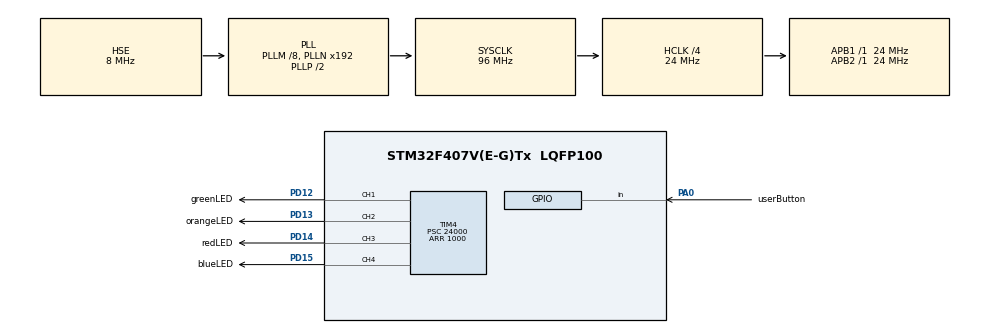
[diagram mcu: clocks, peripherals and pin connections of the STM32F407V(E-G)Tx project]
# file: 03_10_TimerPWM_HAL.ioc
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Mcu.Family=STM32F4
Mcu.Name=STM32F407V(E-G)Tx
Mcu.Package=LQFP100
NVIC.PriorityGroup=NVIC_PRIORITYGROUP_4
PA0-WKUP.GPIO_Label=userButton
PA0-WKUP.Signal=GPIO_Input
PD12.GPIO_Label=greenLED
PD12.Signal=S_TIM4_CH1
PD13.GPIO_Label=orangeLED
PD13.Signal=S_TIM4_CH2
PD14.GPIO_Label=redLED
PD14.Signal=S_TIM4_CH3
PD15.GPIO_Label=blueLED
PD15.Signal=S_TIM4_CH4
PH0-OSC_IN.Mode=HSE-External-Oscillator
PH0-OSC_IN.Signal=RCC_OSC_IN
PH1-OSC_OUT.Mode=HSE-External-Oscillator
PH1-OSC_OUT.Signal=RCC_OSC_OUT
ProjectManager.HeapSize=0x200
ProjectManager.StackSize=0x400
ProjectManager.TargetToolchain=STM32CubeIDE
RCC.48MHZClocksFreq_Value=48000000
RCC.AHBCLKDivider=RCC_SYSCLK_DIV4
RCC.AHBFreq_Value=24000000
RCC.APB1Freq_Value=24000000
RCC.APB1TimFreq_Value=24000000
RCC.APB2Freq_Value=24000000
RCC.APB2TimFreq_Value=24000000
RCC.CortexFreq_Value=24000000
RCC.HCLKFreq_Value=24000000
RCC.HSE_VALUE=8000000
RCC.HSI_VALUE=16000000
RCC.LSE_VALUE=32768
RCC.PLLM=8
RCC.PLLSourceVirtual=RCC_PLLSOURCE_HSE
RCC.SYSCLKFreq_VALUE=96000000
RCC.SYSCLKSource=RCC_SYSCLKSOURCE_PLLCLK
RCC.VCOOutputFreq_Value=192000000
SH.S_TIM4_CH1.0=TIM4_CH1,PWM Generation1 CH1
SH.S_TIM4_CH2.0=TIM4_CH2,PWM Generation2 CH2
SH.S_TIM4_CH3.0=TIM4_CH3,PWM Generation3 CH3
SH.S_TIM4_CH4.0=TIM4_CH4,PWM Generation4 CH4
TIM4.Channel-PWM\ Generation1\ CH1=TIM_CHANNEL_1
TIM4.Channel-PWM\ Generation2\ CH2=TIM_CHANNEL_2
TIM4.Channel-PWM\ Generation3\ CH3=TIM_CHANNEL_3
TIM4.Channel-PWM\ Generation4\ CH4=TIM_CHANNEL_4
TIM4.OCMode_PWM-PWM\ Generation4\ CH4=TIM_OCMODE_PWM2
TIM4.OCPolarity_4=TIM_OCPOLARITY_LOW
TIM4.Period=1000
TIM4.Prescaler=24000
board=custom

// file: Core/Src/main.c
/* USER CODE BEGIN Header */
/**
  ******************************************************************************
  * @file           : main.c
  * @brief          : Main program body
  ******************************************************************************
  * @attention
  *
  * Copyright (c) 2024 STMicroelectronics.
  * All rights reserved.
  *
  * This software is licensed under terms that can be found in the LICENSE file
  * in the root directory of this software component.
  * If no LICENSE file comes with this software, it is provided AS-IS.
  *
  ******************************************************************************
  */
/* USER CODE END Header */
#include "main.h"

TIM_HandleTypeDef htim4;

void SystemClock_Config(void);
static void MX_GPIO_Init(void);
static void MX_TIM4_Init(void);

int main(void)
{

  /* USER CODE BEGIN 1 */
	uint32_t b1State = 0;
	uint32_t last = 0;
	uint8_t speedState = 0x0;
  /* USER CODE END 1 */

  /* MCU Configuration--------------------------------------------------------*/

  /* Reset of all peripherals, Initializes the Flash interface and the Systick. */
  HAL_Init();

  /* Configure the system clock */
  SystemClock_Config();

  /* Initialize all configured peripherals */
  MX_GPIO_Init();
  MX_TIM4_Init();
  /* USER CODE BEGIN 2 */

  //set the comparator value
  TIM4->CCR1 = 100;
  TIM4->CCR2 = 300;
  TIM4->CCR3 = 500;
  TIM4->CCR4 = 800;
  HAL_TIM_PWM_Start(&htim4, TIM_CHANNEL_1);
  HAL_TIM_PWM_Start(&htim4, TIM_CHANNEL_2);
  HAL_TIM_PWM_Start(&htim4, TIM_CHANNEL_3);
  HAL_TIM_PWM_Start(&htim4, TIM_CHANNEL_4);
  /* USER CODE END 2 */

  /* Infinite loop */
  /* USER CODE BEGIN WHILE */
  while (1)
  {
	  b1State = HAL_GPIO_ReadPin(userButton_GPIO_Port, userButton_Pin);
	  if(((b1State & userButton_Pin) == userButton_Pin) && b1State != last){
		  speedState ^= 0x1;
	  }
	  switch(speedState){
	  case 0:
		  TIM4->CCR1 = 100;
		  TIM4->CCR2 = 300;
		  TIM4->CCR3 = 500;
		  TIM4->CCR4 = 800;
		  break;
	  case 1:
		  TIM4->CCR1 = 250;
		  TIM4->CCR2 = 500;
		  TIM4->CCR3 = 750;
		  TIM4->CCR4 = 1000;
		  break;
	  }

	  last = b1State;
    /* USER CODE END WHILE */

  }
}

void SystemClock_Config(void)
{
  RCC_OscInitTypeDef RCC_OscInitStruct = {0};
  RCC_ClkInitTypeDef RCC_ClkInitStruct = {0};

  /** Configure the main internal regulator output voltage
  */
  __HAL_RCC_PWR_CLK_ENABLE();
  __HAL_PWR_VOLTAGESCALING_CONFIG(PWR_REGULATOR_VOLTAGE_SCALE1);

  /** Initializes the RCC Oscillators according to the specified parameters
  * in the RCC_OscInitTypeDef structure.
  */
  RCC_OscInitStruct.OscillatorType = RCC_OSCILLATORTYPE_HSE;
  RCC_OscInitStruct.HSEState = RCC_HSE_ON;
  RCC_OscInitStruct.PLL.PLLState = RCC_PLL_ON;
  RCC_OscInitStruct.PLL.PLLSource = RCC_PLLSOURCE_HSE;
  RCC_OscInitStruct.PLL.PLLM = 8;
  RCC_OscInitStruct.PLL.PLLN = 192;
  RCC_OscInitStruct.PLL.PLLP = RCC_PLLP_DIV2;
  RCC_OscInitStruct.PLL.PLLQ = 4;
  if (HAL_RCC_OscConfig(&RCC_OscInitStruct) != HAL_OK)
  {
    Error_Handler();
  }

  /** Initializes the CPU, AHB and APB buses clocks
  */
  RCC_ClkInitStruct.ClockType = RCC_CLOCKTYPE_HCLK|RCC_CLOCKTYPE_SYSCLK
                              |RCC_CLOCKTYPE_PCLK1|RCC_CLOCKTYPE_PCLK2;
  RCC_ClkInitStruct.SYSCLKSource = RCC_SYSCLKSOURCE_PLLCLK;
  RCC_ClkInitStruct.AHBCLKDivider = RCC_SYSCLK_DIV4;
  RCC_ClkInitStruct.APB1CLKDivider = RCC_HCLK_DIV1;
  RCC_ClkInitStruct.APB2CLKDivider = RCC_HCLK_DIV1;

  if (HAL_RCC_ClockConfig(&RCC_ClkInitStruct, FLASH_LATENCY_0) != HAL_OK)
  {
    Error_Handler();
  }
}

static void MX_TIM4_Init(void)
{

  TIM_MasterConfigTypeDef sMasterConfig = {0};
  TIM_OC_InitTypeDef sConfigOC = {0};

  htim4.Instance = TIM4;
  htim4.Init.Prescaler = 24000;
  htim4.Init.CounterMode = TIM_COUNTERMODE_UP;
  htim4.Init.Period = 1000;
  htim4.Init.ClockDivision = TIM_CLOCKDIVISION_DIV1;
  htim4.Init.AutoReloadPreload = TIM_AUTORELOAD_PRELOAD_DISABLE;
  if (HAL_TIM_PWM_Init(&htim4) != HAL_OK)
  {
    Error_Handler();
  }
  sMasterConfig.MasterOutputTrigger = TIM_TRGO_RESET;
  sMasterConfig.MasterSlaveMode = TIM_MASTERSLAVEMODE_DISABLE;
  if (HAL_TIMEx_MasterConfigSynchronization(&htim4, &sMasterConfig) != HAL_OK)
  {
    Error_Handler();
  }
  sConfigOC.OCMode = TIM_OCMODE_PWM1;
  sConfigOC.Pulse = 0;
  sConfigOC.OCPolarity = TIM_OCPOLARITY_HIGH;
  sConfigOC.OCFastMode = TIM_OCFAST_DISABLE;
  if (HAL_TIM_PWM_ConfigChannel(&htim4, &sConfigOC, TIM_CHANNEL_1) != HAL_OK)
  {
    Error_Handler();
  }
  if (HAL_TIM_PWM_ConfigChannel(&htim4, &sConfigOC, TIM_CHANNEL_2) != HAL_OK)
  {
    Error_Handler();
  }
  if (HAL_TIM_PWM_ConfigChannel(&htim4, &sConfigOC, TIM_CHANNEL_3) != HAL_OK)
  {
    Error_Handler();
  }
  sConfigOC.OCMode = TIM_OCMODE_PWM2;
  sConfigOC.OCPolarity = TIM_OCPOLARITY_LOW;
  if (HAL_TIM_PWM_ConfigChannel(&htim4, &sConfigOC, TIM_CHANNEL_4) != HAL_OK)
  {
    Error_Handler();
  }
  HAL_TIM_MspPostInit(&htim4);

}

static void MX_GPIO_Init(void)
{
  GPIO_InitTypeDef GPIO_InitStruct = {0};

  /* GPIO Ports Clock Enable */
  __HAL_RCC_GPIOH_CLK_ENABLE();
  __HAL_RCC_GPIOA_CLK_ENABLE();
  __HAL_RCC_GPIOD_CLK_ENABLE();

  /*Configure GPIO pin : userButton_Pin */
  GPIO_InitStruct.Pin = userButton_Pin;
  GPIO_InitStruct.Mode = GPIO_MODE_INPUT;
  GPIO_InitStruct.Pull = GPIO_NOPULL;
  HAL_GPIO_Init(userButton_GPIO_Port, &GPIO_InitStruct);

}

void Error_Handler(void)
{
  __disable_irq();
  while (1)
  {
  }
}
